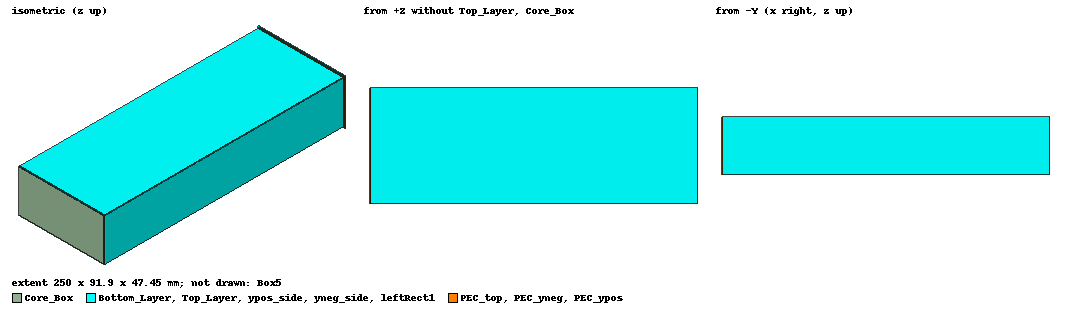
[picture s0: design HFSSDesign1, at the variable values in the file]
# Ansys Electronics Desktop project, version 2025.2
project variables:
  $er = 3.5
  $ur = 1
  $sigma_core = 0
  $sigma_film = 63000000
  $film_t = 4e-08
  $freq = 2400000000
  $lam = (3e8)/$freq
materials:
  vacuum: permittivity=1
  Core: permittivity=$er permeability=$ur conductivity=$sigma_core
  film: conductivity=$sigma_film
  copper: permeability=0.999991 conductivity=58000000

design HFSSDesign1 (HFSS, HFSS Terminal Network, model units mm)
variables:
  WG_len = E_len *$lam
  a = 88.9mm
  b = 44.45mm
  PEC_len = 1mm
  E_len = 2
  PEC_pad = 1.5mm
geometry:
  Core_Box [Core] = box(corner=(-WG_len/2, -a/2, -b/2), size=(WG_len, a, b))
  Bottom_Layer = rectangle(corner=(-WG_len/2 +PEC_len, -a/2, -b/2), x_size=WG_len-PEC_len, y_size=a)
  Top_Layer = rectangle(corner=(-WG_len/2+PEC_len, -a/2, b/2), x_size=WG_len -PEC_len, y_size=a)
  ypos_side = rectangle(corner=(-WG_len/2 +PEC_len, a/2, -b/2), z_size=b, x_size=WG_len-PEC_len)
  yneg_side = rectangle(corner=(-WG_len/2 +PEC_len, -a/2, -b/2), z_size=b, x_size=WG_len-PEC_len)
  leftRect = rectangle(corner=(-WG_len/2, -a/2 -PEC_pad, -b/2-PEC_pad), y_size=a+2*PEC_pad, z_size=b+2*PEC_pad)
  Box5 [vacuum] = box(corner=((-WG_len/2), (-a/2) - ($lam/4), (-b/2) - ($lam/4)), size=(WG_len + $lam/4, a + $lam/2, b + $lam/2))
  PEC_top = rectangle(corner=(-WG_len/2, -a/2, b/2), x_size=PEC_len, y_size=a)
  PEC_yneg = rectangle(corner=(-WG_len/2, -a/2, -b/2), z_size=b, x_size=PEC_len)
  PEC_ypos = rectangle(corner=(-WG_len/2, a/2, -b/2), z_size=b, x_size=PEC_len)
  PEC_Bottom = rectangle(corner=(-WG_len/2, -a/2, -b/2), x_size=PEC_len, y_size=a)
  leftRect1 = rectangle(corner=(-WG_len/2, -a/2 -PEC_pad, -b/2-PEC_pad), y_size=a+2*PEC_pad, z_size=b+2*PEC_pad)
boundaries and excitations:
  Layered2: Layered Impedance Objects=Bottom_Layer Frequency=0GHz IsTwoSided Layers{Layer1{Thickness=$film_t Material=film}}
  Layered3: Layered Impedance Objects=Top_Layer Frequency=0GHz IsTwoSided Layers{Layer1{Thickness=$film_t Material=film}}
  Layered4: Layered Impedance Objects=yneg_side Frequency=0GHz IsTwoSided Layers{Layer1{Thickness=$film_t Material=film}}
  Layered5: Layered Impedance Objects=ypos_side Frequency=0GHz IsTwoSided Layers{Layer1{Thickness=$film_t Material=film}}
  Rad2: Radiation Objects=Box5
  PerfE1: Perfect E Objects=PEC_Bottom
  PerfE2: Perfect E Objects=PEC_top
  PerfE3: Perfect E Objects=PEC_yneg
  PerfE4: Perfect E Objects=PEC_ypos
  PerfE5: Perfect E Objects=leftRect
  1: Wave Port Faces=leftRect1.face WavePortType=Modal NumModes=1 Modes{Mode1{IntLine{(-125, 0, -23.725) -> (-125, 0, 23.725)} CharImp=Zpi}}
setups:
  Setup1: HfssDriven Frequency=2.4GHz MaxDeltaS=0.01 MaximumPasses=50 MinimumPasses=1 MinimumConvergedPasses=1 PercentRefinement=30 BasisOrder=1 PortAccuracy=2 DrivenSolverType="Direct Solver"
    sweep Sweep: 1.2GHz to 3.6GHz, 401 points; Type=Discrete SaveFields SaveRadFields
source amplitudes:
  1:1: 1V 0deg
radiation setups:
  Infinite Sphere1: Infinite Sphere Theta=0deg..180deg step 2deg Phi=-180deg..180deg step 2deg
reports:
  Terminal S Parameter Plot1: dB(St(1,1)) vs Freq on Setup1 : Sweep
  Gain Plot1: dB(GainTotal) vs Theta on Setup1 : LastAdaptive, Infinite Sphere1 [Theta=0deg,2deg,4deg,6deg,8deg,10deg Phi=0deg Freq=2.4GHz]
